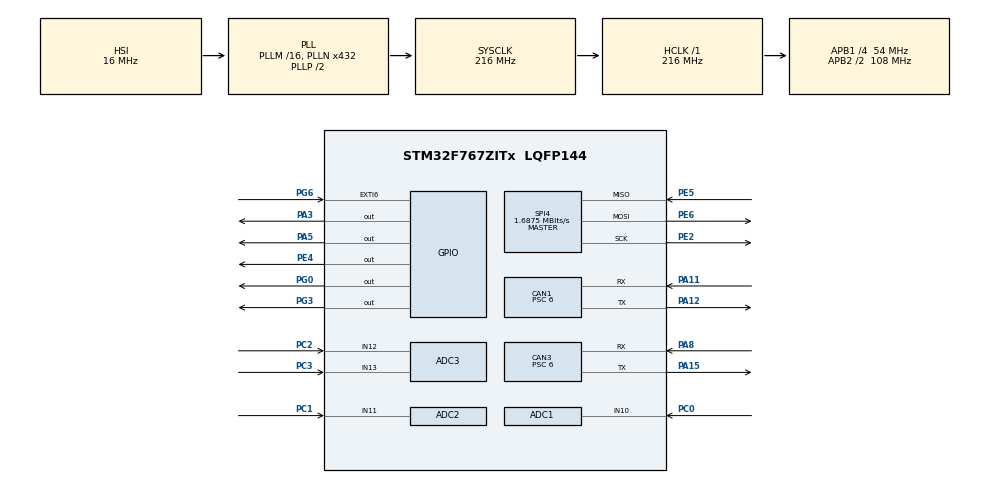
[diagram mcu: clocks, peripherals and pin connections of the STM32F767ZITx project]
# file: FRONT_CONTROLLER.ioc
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ADC1.Channel-0\#ChannelRegularConversion=ADC_CHANNEL_10
ADC1.ClockPrescaler=ADC_CLOCK_SYNC_PCLK_DIV4
ADC1.NbrOfConversionFlag=1
ADC1.Rank-0\#ChannelRegularConversion=1
ADC1.SamplingTime-0\#ChannelRegularConversion=ADC_SAMPLETIME_3CYCLES
ADC1.master=1
ADC2.Channel-0\#ChannelRegularConversion=ADC_CHANNEL_11
ADC2.ClockPrescaler=ADC_CLOCK_SYNC_PCLK_DIV4
ADC2.NbrOfConversionFlag=1
ADC2.Rank-0\#ChannelRegularConversion=1
ADC2.SamplingTime-0\#ChannelRegularConversion=ADC_SAMPLETIME_3CYCLES
ADC3.Channel-0\#ChannelRegularConversion=ADC_CHANNEL_12
ADC3.ClockPrescaler=ADC_CLOCK_SYNC_PCLK_DIV4
ADC3.NbrOfConversionFlag=1
ADC3.Rank-0\#ChannelRegularConversion=1
ADC3.SamplingTime-0\#ChannelRegularConversion=ADC_SAMPLETIME_3CYCLES
CAN1.BS1=CAN_BS1_9TQ
CAN1.BS2=CAN_BS2_8TQ
CAN1.CalculateBaudRate=500000
CAN1.CalculateTimeBit=2000
CAN1.CalculateTimeQuantum=111.11111111111111
CAN1.Prescaler=6
CAN3.BS1=CAN_BS1_9TQ
CAN3.BS2=CAN_BS2_8TQ
CAN3.CalculateBaudRate=500000
CAN3.CalculateTimeBit=2000
CAN3.CalculateTimeQuantum=111.11111111111111
CAN3.Prescaler=6
Mcu.Family=STM32F7
Mcu.Name=STM32F767ZITx
Mcu.Package=LQFP144
NVIC.CAN1_RX1_IRQn=true\:0\:0\:false\:false\:true\:true\:true
NVIC.CAN3_RX0_IRQn=true\:0\:0\:false\:false\:true\:true\:true
NVIC.EXTI9_5_IRQn=true\:0\:0\:false\:false\:true\:true\:true
NVIC.PriorityGroup=NVIC_PRIORITYGROUP_4
NVIC.TIM1_UP_TIM10_IRQn=true\:0\:0\:false\:false\:true\:true\:true
NVIC.TIM8_TRG_COM_TIM14_IRQn=true\:0\:0\:false\:false\:true\:true\:true
NVIC.TIM8_UP_TIM13_IRQn=true\:0\:0\:false\:false\:true\:true\:true
PA11.Mode=CAN_Activate
PA11.Signal=CAN1_RX
PA12.Mode=CAN_Activate
PA12.Signal=CAN1_TX
PA15.Mode=CAN_Activate
PA15.Signal=CAN3_TX
PA3.GPIO_ModeDefaultOutputPP=GPIO_MODE_OUTPUT_PP
PA3.PinState=GPIO_PIN_RESET
PA3.Signal=GPIO_Output
PA5.GPIO_Speed=GPIO_SPEED_FREQ_VERY_HIGH
PA5.PinState=GPIO_PIN_RESET
PA5.Signal=GPIO_Output
PA8.Mode=CAN_Activate
PA8.Signal=CAN3_RX
PC0.Signal=ADCx_IN10
PC1.Signal=ADCx_IN11
PC2.Signal=ADCx_IN12
PC3.Signal=ADCx_IN13
PD5.Signal=USART2_TX
PD6.Signal=USART2_RX
PE2.Mode=Full_Duplex_Master
PE2.Signal=SPI4_SCK
PE4.PinState=GPIO_PIN_SET
PE4.Signal=GPIO_Output
PE5.Mode=Full_Duplex_Master
PE5.Signal=SPI4_MISO
PE6.Mode=Full_Duplex_Master
PE6.Signal=SPI4_MOSI
PG0.PinState=GPIO_PIN_RESET
PG0.Signal=GPIO_Output
PG3.PinState=GPIO_PIN_RESET
PG3.Signal=GPIO_Output
PG6.GPIO_ModeDefaultEXTI=GPIO_MODE_IT_FALLING
PG6.Signal=GPXTI6
ProjectManager.HeapSize=0x200
ProjectManager.StackSize=0x400
ProjectManager.TargetToolchain=STM32CubeIDE
RCC.AHBFreq_Value=216000000
RCC.APB1CLKDivider=RCC_HCLK_DIV4
RCC.APB1Freq_Value=54000000
RCC.APB1TimFreq_Value=108000000
RCC.APB2CLKDivider=RCC_HCLK_DIV2
RCC.APB2Freq_Value=108000000
RCC.APB2TimFreq_Value=216000000
RCC.CortexFreq_Value=216000000
RCC.HCLKFreq_Value=216000000
RCC.HSE_VALUE=25000000
RCC.HSI_VALUE=16000000
RCC.LSE_VALUE=32768
RCC.PLLN=432
RCC.SYSCLKFreq_VALUE=216000000
RCC.SYSCLKSource=RCC_SYSCLKSOURCE_PLLCLK
RCC.USBFreq_Value=216000000
RCC.VCOOutputFreq_Value=432000000
SH.ADCx_IN10.0=ADC1_IN10,IN10
SH.ADCx_IN11.0=ADC2_IN11,IN11
SH.ADCx_IN12.0=ADC3_IN12,IN12
SH.ADCx_IN13.0=ADC3_IN13,IN13
SPI4.BaudRatePrescaler=SPI_BAUDRATEPRESCALER_64
SPI4.CLKPhase=SPI_PHASE_2EDGE
SPI4.CLKPolarity=SPI_POLARITY_HIGH
SPI4.CalculateBaudRate=1.6875 MBits/s
SPI4.DataSize=SPI_DATASIZE_8BIT
SPI4.Direction=SPI_DIRECTION_2LINES
SPI4.FirstBit=SPI_FIRSTBIT_MSB
SPI4.Mode=SPI_MODE_MASTER
SPI4.VirtualType=VM_MASTER
TIM10.Period=50000-1
TIM10.Prescaler=216-1
TIM13.Period=50000-1
TIM13.Prescaler=2160-1
TIM14.Period=50000-1
TIM14.Prescaler=216-1
VP_TIM10_VS_ClockSourceINT.Mode=Enable_Timer
VP_TIM13_VS_ClockSourceINT.Mode=Enable_Timer
VP_TIM14_VS_ClockSourceINT.Mode=Enable_Timer
board=custom

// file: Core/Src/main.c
/* USER CODE BEGIN Header */
/**
  ******************************************************************************
  * @file           : main.c
  * @brief          : Main program body
  ******************************************************************************
  * @attention
  *
  * Copyright (c) 2022 STMicroelectronics.
  * All rights reserved.
  *
  * This software is licensed under terms that can be found in the LICENSE file
  * in the root directory of this software component.
  * If no LICENSE file comes with this software, it is provided AS-IS.
  *
  ******************************************************************************
  */
/* USER CODE END Header */
#include "main.h"

/* USER CODE BEGIN Includes */
#include "can_msg.h"
/* USER CODE END Includes */

/* USER CODE BEGIN PTD */
struct StartupStateMachine {
	enum startup_seq {STANDBY,
					  START_MOTORS,	//Motor startup seq
					  WAIT_BMS,
					  WAIT_START_BTN_PRESS,
					  CONTACTOR_SEQ, //Contactor seq
					  PEDAL,
					  STARTUP_ERROR} startup_state;

	enum contactors_seq {RESET_CONT, CLMPO3, CLMPO4, CLMPO2, OPMPO4, CONTACTOR_COMPLETE} mpo_state;

	enum amk_start_seq {BEGIN_MOTOR_INIT,
						RX_SYS_READY,
						TX_DC_ON,
						RX_QUIT_DC_ON,
						TX_ZERO_TORQUE,
						TX_B_ENABLE,
						TX_B_INVERTER_ON,
						RX_BQ_INTVERTER_ON,
						SET_INITIAL_TORQUE,
						MOTOR_INITIALIZED} amk_start_state;

} startup;

/* USER CODE END PTD */

ADC_HandleTypeDef hadc1;
ADC_HandleTypeDef hadc2;
ADC_HandleTypeDef hadc3;

CAN_HandleTypeDef hcan1;
CAN_HandleTypeDef hcan3;

SPI_HandleTypeDef hspi4;

TIM_HandleTypeDef htim10;
TIM_HandleTypeDef htim13;
TIM_HandleTypeDef htim14;

/* USER CODE BEGIN PV */
bool state = true;
uint8_t start_pressed = 0;

//-------- CAN BMS --------
uint8_t bms_rx_data[8];
uint8_t mpo2_data[8] = {0};
uint8_t mpo3_data[8] = {0};
uint8_t mpo4_data[8] = {0};

CAN_TxHeaderTypeDef mpo2_tx_header, mpo3_tx_header, mpo4_tx_header;
CAN_RxHeaderTypeDef bms_rx_header;

uint8_t contactor_delay_cnt = 0;
//Boolean checks to see if BMS message received
uint8_t active_rx1 = 0;
uint8_t active_rx2 = 0;

//-------- CAN AMK --------
uint32_t amk_tx_mailbox;
struct can_amk_inverter_amk0_actual_values1_t *amk0_av1;
struct can_amk_inverter_amk0_actual_values2_t *amk0_av2;
struct can_amk_inverter_amk0_set_points1_t *amk0_sp;

struct can_amk_inverter_amk1_actual_values1_t *amk1_av1;
struct can_amk_inverter_amk1_actual_values2_t *amk1_av2;
struct can_amk_inverter_amk1_set_points1_t *amk1_sp;

CAN_RxHeaderTypeDef   powertrain_rx_header;
uint8_t               powertrain_rx_data[8];
uint8_t               amk0_av1_tx_data[8], amk0_av2_tx_data[8], amk0_sp_tx_data[8];

CAN_TxHeaderTypeDef   amk0_av1_tx_header, amk0_av2_tx_header, amk0_sp_tx_header;

//-------- SPI ACCELEROMETER --------
uint8_t data_rec[6];
int16_t x, y, z;
float xg, yg, zg;

CAN_TxHeaderTypeDef   TxHeader, TxHeader2, TxHeader3, TxHeader4;
CAN_RxHeaderTypeDef   RxHeader;
uint8_t               TxData[8] = {0};
uint8_t TxData2[8] = {0};
uint8_t TxData3[8] = {0};
uint8_t TxData4[8] = {0};

uint8_t               RxData[8];
uint32_t              TxMailbox;
int num_receives = 0;
/* USER CODE END PV */

void SystemClock_Config(void);
static void MX_GPIO_Init(void);
static void MX_ADC1_Init(void);
static void MX_ADC2_Init(void);
static void MX_ADC3_Init(void);
static void MX_CAN3_Init(void);
static void MX_CAN1_Init(void);
static void MX_TIM14_Init(void);
static void MX_TIM13_Init(void);
static void MX_SPI4_Init(void);
static void MX_TIM10_Init(void);
/* USER CODE BEGIN PFP */
static void configure_hardware(void);
static void can_config(void);
static void change_contactor_phase(struct StartupStateMachine *startup);
static void adxl_init (void);
static void adxl_read(uint8_t address);
static void adxl_write(uint8_t address, uint8_t value);

static void perform_motor_step(void);
static void process_amk0_av1(void);
/* USER CODE END PFP */

int main(void)
{

  /* MCU Configuration--------------------------------------------------------*/

  /* Reset of all peripherals, Initializes the Flash interface and the Systick. */
  HAL_Init();

  /* Configure the system clock */
  SystemClock_Config();

  /* Initialize all configured peripherals */
  MX_GPIO_Init();
  MX_ADC1_Init();
  MX_ADC2_Init();
  MX_ADC3_Init();
  MX_CAN3_Init();
  MX_CAN1_Init();
  MX_TIM14_Init();
  MX_TIM13_Init();
  MX_SPI4_Init();
  MX_TIM10_Init();
  /* USER CODE BEGIN 2 */

  //INITIALIZE CAN, ADC's, GPIO, BRAKE LIGHT, GPS, IMU
  configure_hardware();

  //Initial state machine configuration
  startup.startup_state = WAIT_BMS;
  startup.amk_start_state = BEGIN_MOTOR_INIT;
  startup.mpo_state = RESET_CONT;

  //HAL_Delay(2000);

  adxl_init();

        //startup_state = CONTACTOR_SEQ;
        //mpo_state = SUSPENDED;
        //mpo_state = RESET_CONT;

        //HAL_GPIO_WritePin(GPIOA, GPIO_PIN_3, GPIO_PIN_SET);
  int pin_state, last_pin_state;
  last_pin_state = 1;
  /* USER CODE END 2 */

  /* Infinite loop */
  /* USER CODE BEGIN WHILE */
  while (1)
  {
	  adxl_read(0x32);
	  x = ((data_rec[1]<<8)|data_rec[0]);
	  y = ((data_rec[3]<<8)|data_rec[2]);
	  z = ((data_rec[5]<<8)|data_rec[4]);
	  //convert into g
	  xg = x * .0078;
	  yg = y * .0078;
	  zg = z * .0078;

//	  TxData[0] = (uint8_t)xg;
//	  TxData[1] = (uint8_t)yg;
//	  TxData[2] = (uint8_t)zg;
//
//
//	  HAL_CAN_AddTxMessage(&hcan3, &TxHeader, TxData, &TxMailbox);
//	  HAL_Delay(500);

	  //pin_state = HAL_GPIO_ReadPin(GPIOG, GPIO_PIN_6);
	  if (startup.startup_state == WAIT_START_BTN_PRESS && start_pressed)
	  {
		  //HAL_GPIO_WritePin(GPIOA, GPIO_PIN_3, GPIO_PIN_SET);
		  startup.startup_state = CONTACTOR_SEQ;
		  startup.mpo_state = CLMPO3;
	  }
	  //last_pin_state = pin_state;

	  if (startup.startup_state == START_MOTORS)
		  perform_motor_step();

  }

    /* USER CODE END WHILE */

}

void SystemClock_Config(void)
{
  RCC_OscInitTypeDef RCC_OscInitStruct = {0};
  RCC_ClkInitTypeDef RCC_ClkInitStruct = {0};

  /** Configure the main internal regulator output voltage
  */
  __HAL_RCC_PWR_CLK_ENABLE();
  __HAL_PWR_VOLTAGESCALING_CONFIG(PWR_REGULATOR_VOLTAGE_SCALE1);
  /** Initializes the RCC Oscillators according to the specified parameters
  * in the RCC_OscInitTypeDef structure.
  */
  RCC_OscInitStruct.OscillatorType = RCC_OSCILLATORTYPE_HSI;
  RCC_OscInitStruct.HSIState = RCC_HSI_ON;
  RCC_OscInitStruct.HSICalibrationValue = RCC_HSICALIBRATION_DEFAULT;
  RCC_OscInitStruct.PLL.PLLState = RCC_PLL_ON;
  RCC_OscInitStruct.PLL.PLLSource = RCC_PLLSOURCE_HSI;
  RCC_OscInitStruct.PLL.PLLM = 16;
  RCC_OscInitStruct.PLL.PLLN = 432;
  RCC_OscInitStruct.PLL.PLLP = RCC_PLLP_DIV2;
  RCC_OscInitStruct.PLL.PLLQ = 2;
  RCC_OscInitStruct.PLL.PLLR = 2;
  if (HAL_RCC_OscConfig(&RCC_OscInitStruct) != HAL_OK)
  {
    Error_Handler();
  }
  /** Activate the Over-Drive mode
  */
  if (HAL_PWREx_EnableOverDrive() != HAL_OK)
  {
    Error_Handler();
  }
  /** Initializes the CPU, AHB and APB buses clocks
  */
  RCC_ClkInitStruct.ClockType = RCC_CLOCKTYPE_HCLK|RCC_CLOCKTYPE_SYSCLK
                              |RCC_CLOCKTYPE_PCLK1|RCC_CLOCKTYPE_PCLK2;
  RCC_ClkInitStruct.SYSCLKSource = RCC_SYSCLKSOURCE_PLLCLK;
  RCC_ClkInitStruct.AHBCLKDivider = RCC_SYSCLK_DIV1;
  RCC_ClkInitStruct.APB1CLKDivider = RCC_HCLK_DIV4;
  RCC_ClkInitStruct.APB2CLKDivider = RCC_HCLK_DIV2;

  if (HAL_RCC_ClockConfig(&RCC_ClkInitStruct, FLASH_LATENCY_7) != HAL_OK)
  {
    Error_Handler();
  }
}

static void MX_ADC1_Init(void)
{

  ADC_ChannelConfTypeDef sConfig = {0};

  /** Configure the global features of the ADC (Clock, Resolution, Data Alignment and number of conversion)
  */
  hadc1.Instance = ADC1;
  hadc1.Init.ClockPrescaler = ADC_CLOCK_SYNC_PCLK_DIV4;
  hadc1.Init.Resolution = ADC_RESOLUTION_12B;
  hadc1.Init.ScanConvMode = ADC_SCAN_DISABLE;
  hadc1.Init.ContinuousConvMode = DISABLE;
  hadc1.Init.DiscontinuousConvMode = DISABLE;
  hadc1.Init.ExternalTrigConvEdge = ADC_EXTERNALTRIGCONVEDGE_NONE;
  hadc1.Init.ExternalTrigConv = ADC_SOFTWARE_START;
  hadc1.Init.DataAlign = ADC_DATAALIGN_RIGHT;
  hadc1.Init.NbrOfConversion = 1;
  hadc1.Init.DMAContinuousRequests = DISABLE;
  hadc1.Init.EOCSelection = ADC_EOC_SINGLE_CONV;
  if (HAL_ADC_Init(&hadc1) != HAL_OK)
  {
    Error_Handler();
  }
  /** Configure for the selected ADC regular channel its corresponding rank in the sequencer and its sample time.
  */
  sConfig.Channel = ADC_CHANNEL_10;
  sConfig.Rank = ADC_REGULAR_RANK_1;
  sConfig.SamplingTime = ADC_SAMPLETIME_3CYCLES;
  if (HAL_ADC_ConfigChannel(&hadc1, &sConfig) != HAL_OK)
  {
    Error_Handler();
  }

}

static void MX_ADC2_Init(void)
{

  ADC_ChannelConfTypeDef sConfig = {0};

  /** Configure the global features of the ADC (Clock, Resolution, Data Alignment and number of conversion)
  */
  hadc2.Instance = ADC2;
  hadc2.Init.ClockPrescaler = ADC_CLOCK_SYNC_PCLK_DIV4;
  hadc2.Init.Resolution = ADC_RESOLUTION_12B;
  hadc2.Init.ScanConvMode = ADC_SCAN_DISABLE;
  hadc2.Init.ContinuousConvMode = DISABLE;
  hadc2.Init.DiscontinuousConvMode = DISABLE;
  hadc2.Init.ExternalTrigConvEdge = ADC_EXTERNALTRIGCONVEDGE_NONE;
  hadc2.Init.ExternalTrigConv = ADC_SOFTWARE_START;
  hadc2.Init.DataAlign = ADC_DATAALIGN_RIGHT;
  hadc2.Init.NbrOfConversion = 1;
  hadc2.Init.DMAContinuousRequests = DISABLE;
  hadc2.Init.EOCSelection = ADC_EOC_SINGLE_CONV;
  if (HAL_ADC_Init(&hadc2) != HAL_OK)
  {
    Error_Handler();
  }
  /** Configure for the selected ADC regular channel its corresponding rank in the sequencer and its sample time.
  */
  sConfig.Channel = ADC_CHANNEL_11;
  sConfig.Rank = ADC_REGULAR_RANK_1;
  sConfig.SamplingTime = ADC_SAMPLETIME_3CYCLES;
  if (HAL_ADC_ConfigChannel(&hadc2, &sConfig) != HAL_OK)
  {
    Error_Handler();
  }

}

static void MX_ADC3_Init(void)
{

  ADC_ChannelConfTypeDef sConfig = {0};

  /** Configure the global features of the ADC (Clock, Resolution, Data Alignment and number of conversion)
  */
  hadc3.Instance = ADC3;
  hadc3.Init.ClockPrescaler = ADC_CLOCK_SYNC_PCLK_DIV4;
  hadc3.Init.Resolution = ADC_RESOLUTION_12B;
  hadc3.Init.ScanConvMode = ADC_SCAN_DISABLE;
  hadc3.Init.ContinuousConvMode = DISABLE;
  hadc3.Init.DiscontinuousConvMode = DISABLE;
  hadc3.Init.ExternalTrigConvEdge = ADC_EXTERNALTRIGCONVEDGE_NONE;
  hadc3.Init.ExternalTrigConv = ADC_SOFTWARE_START;
  hadc3.Init.DataAlign = ADC_DATAALIGN_RIGHT;
  hadc3.Init.NbrOfConversion = 1;
  hadc3.Init.DMAContinuousRequests = DISABLE;
  hadc3.Init.EOCSelection = ADC_EOC_SINGLE_CONV;
  if (HAL_ADC_Init(&hadc3) != HAL_OK)
  {
    Error_Handler();
  }
  /** Configure for the selected ADC regular channel its corresponding rank in the sequencer and its sample time.
  */
  sConfig.Channel = ADC_CHANNEL_12;
  sConfig.Rank = ADC_REGULAR_RANK_1;
  sConfig.SamplingTime = ADC_SAMPLETIME_3CYCLES;
  if (HAL_ADC_ConfigChannel(&hadc3, &sConfig) != HAL_OK)
  {
    Error_Handler();
  }

}

static void MX_CAN1_Init(void)
{

  hcan1.Instance = CAN1;
  hcan1.Init.Prescaler = 6;
  hcan1.Init.Mode = CAN_MODE_NORMAL;
  hcan1.Init.SyncJumpWidth = CAN_SJW_1TQ;
  hcan1.Init.TimeSeg1 = CAN_BS1_9TQ;
  hcan1.Init.TimeSeg2 = CAN_BS2_8TQ;
  hcan1.Init.TimeTriggeredMode = DISABLE;
  hcan1.Init.AutoBusOff = DISABLE;
  hcan1.Init.AutoWakeUp = DISABLE;
  hcan1.Init.AutoRetransmission = DISABLE;
  hcan1.Init.ReceiveFifoLocked = DISABLE;
  hcan1.Init.TransmitFifoPriority = DISABLE;
  if (HAL_CAN_Init(&hcan1) != HAL_OK)
  {
    Error_Handler();
  }

}

static void MX_CAN3_Init(void)
{

  hcan3.Instance = CAN3;
  hcan3.Init.Prescaler = 6;
  hcan3.Init.Mode = CAN_MODE_NORMAL;
  hcan3.Init.SyncJumpWidth = CAN_SJW_1TQ;
  hcan3.Init.TimeSeg1 = CAN_BS1_9TQ;
  hcan3.Init.TimeSeg2 = CAN_BS2_8TQ;
  hcan3.Init.TimeTriggeredMode = DISABLE;
  hcan3.Init.AutoBusOff = DISABLE;
  hcan3.Init.AutoWakeUp = DISABLE;
  hcan3.Init.AutoRetransmission = DISABLE;
  hcan3.Init.ReceiveFifoLocked = DISABLE;
  hcan3.Init.TransmitFifoPriority = DISABLE;
  if (HAL_CAN_Init(&hcan3) != HAL_OK)
  {
    Error_Handler();
  }

}

static void MX_SPI4_Init(void)
{

  /* SPI4 parameter configuration*/
  hspi4.Instance = SPI4;
  hspi4.Init.Mode = SPI_MODE_MASTER;
  hspi4.Init.Direction = SPI_DIRECTION_2LINES;
  hspi4.Init.DataSize = SPI_DATASIZE_8BIT;
  hspi4.Init.CLKPolarity = SPI_POLARITY_HIGH;
  hspi4.Init.CLKPhase = SPI_PHASE_2EDGE;
  hspi4.Init.NSS = SPI_NSS_SOFT;
  hspi4.Init.BaudRatePrescaler = SPI_BAUDRATEPRESCALER_64;
  hspi4.Init.FirstBit = SPI_FIRSTBIT_MSB;
  hspi4.Init.TIMode = SPI_TIMODE_DISABLE;
  hspi4.Init.CRCCalculation = SPI_CRCCALCULATION_DISABLE;
  hspi4.Init.CRCPolynomial = 7;
  hspi4.Init.CRCLength = SPI_CRC_LENGTH_DATASIZE;
  hspi4.Init.NSSPMode = SPI_NSS_PULSE_DISABLE;
  if (HAL_SPI_Init(&hspi4) != HAL_OK)
  {
    Error_Handler();
  }

}

static void MX_TIM10_Init(void)
{

  htim10.Instance = TIM10;
  htim10.Init.Prescaler = 216-1;
  htim10.Init.CounterMode = TIM_COUNTERMODE_UP;
  htim10.Init.Period = 50000-1;
  htim10.Init.ClockDivision = TIM_CLOCKDIVISION_DIV1;
  htim10.Init.AutoReloadPreload = TIM_AUTORELOAD_PRELOAD_DISABLE;
  if (HAL_TIM_Base_Init(&htim10) != HAL_OK)
  {
    Error_Handler();
  }

}

static void MX_TIM13_Init(void)
{

  htim13.Instance = TIM13;
  htim13.Init.Prescaler = 2160-1;
  htim13.Init.CounterMode = TIM_COUNTERMODE_UP;
  htim13.Init.Period = 50000-1;
  htim13.Init.ClockDivision = TIM_CLOCKDIVISION_DIV1;
  htim13.Init.AutoReloadPreload = TIM_AUTORELOAD_PRELOAD_DISABLE;
  if (HAL_TIM_Base_Init(&htim13) != HAL_OK)
  {
    Error_Handler();
  }

}

static void MX_TIM14_Init(void)
{

  htim14.Instance = TIM14;
  htim14.Init.Prescaler = 216-1;
  htim14.Init.CounterMode = TIM_COUNTERMODE_UP;
  htim14.Init.Period = 50000-1;
  htim14.Init.ClockDivision = TIM_CLOCKDIVISION_DIV1;
  htim14.Init.AutoReloadPreload = TIM_AUTORELOAD_PRELOAD_DISABLE;
  if (HAL_TIM_Base_Init(&htim14) != HAL_OK)
  {
    Error_Handler();
  }

}

static void MX_GPIO_Init(void)
{
  GPIO_InitTypeDef GPIO_InitStruct = {0};

  /* GPIO Ports Clock Enable */
  __HAL_RCC_GPIOE_CLK_ENABLE();
  __HAL_RCC_GPIOC_CLK_ENABLE();
  __HAL_RCC_GPIOA_CLK_ENABLE();
  __HAL_RCC_GPIOG_CLK_ENABLE();
  __HAL_RCC_GPIOD_CLK_ENABLE();

  /*Configure GPIO pin Output Level */
  HAL_GPIO_WritePin(GPIOE, GPIO_PIN_4, GPIO_PIN_SET);

  /*Configure GPIO pin Output Level */
  HAL_GPIO_WritePin(GPIOA, GPIO_PIN_3|GPIO_PIN_5, GPIO_PIN_RESET);

  /*Configure GPIO pin Output Level */
  HAL_GPIO_WritePin(GPIOG, GPIO_PIN_0|GPIO_PIN_3, GPIO_PIN_RESET);

  /*Configure GPIO pin : PE4 */
  GPIO_InitStruct.Pin = GPIO_PIN_4;
  GPIO_InitStruct.Mode = GPIO_MODE_OUTPUT_PP;
  GPIO_InitStruct.Pull = GPIO_NOPULL;
  GPIO_InitStruct.Speed = GPIO_SPEED_FREQ_LOW;
  HAL_GPIO_Init(GPIOE, &GPIO_InitStruct);

  /*Configure GPIO pin : PA3 */
  GPIO_InitStruct.Pin = GPIO_PIN_3;
  GPIO_InitStruct.Mode = GPIO_MODE_OUTPUT_PP;
  GPIO_InitStruct.Pull = GPIO_NOPULL;
  GPIO_InitStruct.Speed = GPIO_SPEED_FREQ_LOW;
  HAL_GPIO_Init(GPIOA, &GPIO_InitStruct);

  /*Configure GPIO pin : PA5 */
  GPIO_InitStruct.Pin = GPIO_PIN_5;
  GPIO_InitStruct.Mode = GPIO_MODE_OUTPUT_PP;
  GPIO_InitStruct.Pull = GPIO_NOPULL;
  GPIO_InitStruct.Speed = GPIO_SPEED_FREQ_VERY_HIGH;
  HAL_GPIO_Init(GPIOA, &GPIO_InitStruct);

  /*Configure GPIO pins : PG0 PG3 */
  GPIO_InitStruct.Pin = GPIO_PIN_0|GPIO_PIN_3;
  GPIO_InitStruct.Mode = GPIO_MODE_OUTPUT_PP;
  GPIO_InitStruct.Pull = GPIO_NOPULL;
  GPIO_InitStruct.Speed = GPIO_SPEED_FREQ_LOW;
  HAL_GPIO_Init(GPIOG, &GPIO_InitStruct);

  /*Configure GPIO pin : PG6 */
  GPIO_InitStruct.Pin = GPIO_PIN_6;
  GPIO_InitStruct.Mode = GPIO_MODE_IT_FALLING;
  GPIO_InitStruct.Pull = GPIO_NOPULL;
  HAL_GPIO_Init(GPIOG, &GPIO_InitStruct);

  /*Configure GPIO pins : PD5 PD6 */
  GPIO_InitStruct.Pin = GPIO_PIN_5|GPIO_PIN_6;
  GPIO_InitStruct.Mode = GPIO_MODE_AF_PP;
  GPIO_InitStruct.Pull = GPIO_NOPULL;
  GPIO_InitStruct.Speed = GPIO_SPEED_FREQ_VERY_HIGH;
  GPIO_InitStruct.Alternate = GPIO_AF7_USART2;
  HAL_GPIO_Init(GPIOD, &GPIO_InitStruct);

  /* EXTI interrupt init*/
  HAL_NVIC_SetPriority(EXTI9_5_IRQn, 0, 0);
  HAL_NVIC_EnableIRQ(EXTI9_5_IRQn);

}

/* USER CODE BEGIN 4 */
static void configure_hardware(void)
{
	can_config();

	HAL_TIM_Base_Start_IT(&htim13);
	//HAL_TIM_Base_Start_IT(&htim10);
	HAL_TIM_Base_Start_IT(&htim14);
}

static void can_config(void)
{
	//Configure Vehicle CAN
	CAN_FilterTypeDef  sFilterConfig;
	sFilterConfig.FilterBank = 0;
	sFilterConfig.FilterMode = CAN_FILTERMODE_IDMASK;
	sFilterConfig.FilterScale = CAN_FILTERSCALE_32BIT;
	sFilterConfig.FilterIdHigh = 0x0000;
	sFilterConfig.FilterIdLow = 0x0000;
	sFilterConfig.FilterMaskIdHigh = 0x0000;
	sFilterConfig.FilterMaskIdLow = 0x0000;
	sFilterConfig.FilterFIFOAssignment = CAN_RX_FIFO0;
	sFilterConfig.FilterActivation = ENABLE;
	sFilterConfig.SlaveStartFilterBank = 14;

	if (HAL_CAN_ConfigFilter(&hcan3, &sFilterConfig) != HAL_OK)
	  {
	    /* Filter configuration Error */
	    Error_Handler();
	  }

	if (HAL_CAN_Start(&hcan3) != HAL_OK)
	{
	    /* Start Error */
	    Error_Handler();
	}

	//Configure Powertrain CAN
	CAN_FilterTypeDef  sFilterConfig2;
	sFilterConfig2.FilterBank = 0;
	sFilterConfig2.FilterMode = CAN_FILTERMODE_IDMASK;
	sFilterConfig2.FilterScale = CAN_FILTERSCALE_32BIT;
	sFilterConfig2.FilterIdHigh = 0x0000;
	sFilterConfig2.FilterIdLow = 0x0000;
	sFilterConfig2.FilterMaskIdHigh = 0x0000;
	sFilterConfig2.FilterMaskIdLow = 0x0000;
	sFilterConfig2.FilterFIFOAssignment = CAN_RX_FIFO1;
	sFilterConfig2.FilterActivation = ENABLE;
	sFilterConfig2.SlaveStartFilterBank = 14;
	if (HAL_CAN_ConfigFilter(&hcan1, &sFilterConfig2) != HAL_OK)
    {
	   /* Filter configuration Error */
	   Error_Handler();
	}

	if (HAL_CAN_Start(&hcan1) != HAL_OK)
	{
	    /* Start Error */
	    Error_Handler();
	}

	if (HAL_CAN_ActivateNotification(&hcan3, CAN_IT_RX_FIFO0_MSG_PENDING) != HAL_OK)
	{
		/* Notification Error */
	    Error_Handler();
	}

	if (HAL_CAN_ActivateNotification(&hcan1, CAN_IT_RX_FIFO1_MSG_PENDING) != HAL_OK)
	{
		/* Notification Error */
	    Error_Handler();
	}

	//Configure TX Headers for BMS CAN
	mpo2_tx_header.StdId = 0x400;
	mpo2_tx_header.ExtId = 0;
	mpo2_tx_header.RTR = CAN_RTR_DATA;
	mpo2_tx_header.IDE = CAN_ID_STD;
	mpo2_tx_header.DLC = 8;
	mpo2_tx_header.TransmitGlobalTime = DISABLE;

	mpo3_tx_header.StdId = 0x401;
	mpo3_tx_header.ExtId = 0;
	mpo3_tx_header.RTR = CAN_RTR_DATA;
	mpo3_tx_header.IDE = CAN_ID_STD;
	mpo3_tx_header.DLC = 8;
	mpo3_tx_header.TransmitGlobalTime = DISABLE;

	mpo4_tx_header.StdId = 0x402;
	mpo4_tx_header.ExtId = 0;
	mpo4_tx_header.RTR = CAN_RTR_DATA;
	mpo4_tx_header.IDE = CAN_ID_STD;
	mpo4_tx_header.DLC = 8;
	mpo4_tx_header.TransmitGlobalTime = DISABLE;

	//Configure TX Headers for AMK CAN
	amk0_av1_tx_header.StdId = 0x284;
	amk0_av1_tx_header.ExtId = 0;
	amk0_av1_tx_header.RTR = CAN_RTR_DATA;
	amk0_av1_tx_header.IDE = CAN_ID_STD;
	amk0_av1_tx_header.DLC = 8;
	amk0_av1_tx_header.TransmitGlobalTime = DISABLE;

	amk0_av2_tx_header.StdId = 0x286;
	amk0_av2_tx_header.ExtId = 0;
	amk0_av2_tx_header.RTR = CAN_RTR_DATA;
	amk0_av2_tx_header.IDE = CAN_ID_STD;
	amk0_av2_tx_header.DLC = 8;
	amk0_av2_tx_header.TransmitGlobalTime = DISABLE;

	amk0_sp_tx_header.StdId = 389;
	amk0_sp_tx_header.ExtId = 0;
	amk0_sp_tx_header.RTR = CAN_RTR_DATA;
	amk0_sp_tx_header.IDE = CAN_ID_STD;
	amk0_sp_tx_header.DLC = 8;
	amk0_sp_tx_header.TransmitGlobalTime = DISABLE;

	TxHeader.StdId = 0x111;
	TxHeader.ExtId = 0;
	TxHeader.RTR = CAN_RTR_DATA;
	TxHeader.IDE = CAN_ID_STD;
	TxHeader.DLC = 8;
	TxHeader.TransmitGlobalTime = DISABLE;

}

void change_contactor_phase(struct StartupStateMachine *startup)
{
	if (startup->mpo_state == RESET_CONT)
	{
		mpo2_data[0] = 1;
		mpo3_data[0] = 1;
		mpo4_data[0] = 1;
		//HAL_CAN_AddTxMessage(&hcan3, &mpo2_tx_header, mpo2_data, &TxMailbox);
		//HAL_CAN_AddTxMessage(&hcan3, &mpo3_tx_header, mpo3_data, &TxMailbox);
		//HAL_CAN_AddTxMessage(&hcan3, &mpo4_tx_header, mpo4_data, &TxMailbox);
	}
	else if (startup->mpo_state == CLMPO3)
	{
		mpo2_data[0] = 1;
		mpo3_data[0] = 0;
		mpo4_data[0] = 1;
		//HAL_CAN_AddTxMessage(&hcan3, &mpo2_tx_header, mpo2_data, &TxMailbox);
		//HAL_CAN_AddTxMessage(&hcan3, &mpo3_tx_header, mpo3_data, &TxMailbox);
		//HAL_CAN_AddTxMessage(&hcan3, &mpo4_tx_header, mpo4_data, &TxMailbox);
		startup->mpo_state = CLMPO4;
	}
	else if (startup->mpo_state == CLMPO4)
		{
		mpo2_data[0] = 1;
		mpo3_data[0] = 0;
		mpo4_data[0] = 0;
		//HAL_CAN_AddTxMessage(&hcan3, &mpo2_tx_header, mpo2_data, &TxMailbox);
		//HAL_CAN_AddTxMessage(&hcan3, &mpo3_tx_header, mpo3_data, &TxMailbox);
		//HAL_CAN_AddTxMessage(&hcan3, &mpo4_tx_header, mpo4_data, &TxMailbox);
		}
	else if (startup->mpo_state == CLMPO2)
		{
		mpo2_data[0] = 0;
		mpo3_data[0] = 0;
		mpo4_data[0] = 0;
			//HAL_CAN_AddTxMessage(&hcan3, &mpo2_tx_header, mpo2_data, &TxMailbox);
			//HAL_CAN_AddTxMessage(&hcan3, &mpo3_tx_header, mpo3_data, &TxMailbox);
			//HAL_CAN_AddTxMessage(&hcan3, &mpo4_tx_header, mpo4_data, &TxMailbox);
				startup->mpo_state = OPMPO4;
		}
	else if (startup->mpo_state == OPMPO4)
			{
		mpo2_data[0] = 0;
				mpo3_data[0] = 0;
				mpo4_data[0] = 1;
				//HAL_CAN_AddTxMessage(&hcan3, &mpo2_tx_header, mpo2_data, &TxMailbox);
				//HAL_CAN_AddTxMessage(&hcan3, &mpo3_tx_header, mpo3_data, &TxMailbox);
				//HAL_CAN_AddTxMessage(&hcan3, &mpo4_tx_header, mpo4_data, &TxMailbox);
				startup->mpo_state = CONTACTOR_COMPLETE;
			}
	else
	{
		mpo2_data[0] = 1;
				mpo3_data[0] = 1;
				mpo4_data[0] = 1;
				startup->startup_state = PEDAL;
				//HAL_CAN_AddTxMessage(&hcan3, &mpo2_tx_header, mpo2_data, &TxMailbox);
								//HAL_CAN_AddTxMessage(&hcan3, &mpo3_tx_header, mpo3_data, &TxMailbox);
								//HAL_CAN_AddTxMessage(&hcan3, &mpo4_tx_header, mpo4_data, &TxMailbox);
	}

//	switch (startup.mpo_state)
//	{
//	case RESET_CONT:
//		mpo2_data[0] = 1;
//		mpo3_data[0] = 1;
//		mpo4_data[0] = 1;
//		//HAL_CAN_AddTxMessage(&hcan3, &mpo2_tx_header, mpo2_data, &TxMailbox);
//		//HAL_CAN_AddTxMessage(&hcan3, &mpo3_tx_header, mpo3_data, &TxMailbox);
//		//HAL_CAN_AddTxMessage(&hcan3, &mpo4_tx_header, mpo4_data, &TxMailbox);
//		break;
//
//	case CLMPO3:
//		mpo2_data[0] = 1;
//		mpo3_data[0] = 0;
//		mpo4_data[0] = 1;
////		HAL_CAN_AddTxMessage(&hcan3, &mpo2_tx_header, mpo2_data, &TxMailbox);
////		HAL_CAN_AddTxMessage(&hcan3, &mpo3_tx_header, mpo3_data, &TxMailbox);
////		HAL_CAN_AddTxMessage(&hcan3, &mpo4_tx_header, mpo4_data, &TxMailbox);
//		startup.mpo_state = CLMPO4;
//		break;
//	case CLMPO4: //, CLMPO2, OPMPO4, CONTACTOR_COMPLETE
//		mpo2_data[0] = 1;
//		mpo3_data[0] = 0;
//		mpo4_data[0] = 0;
////		HAL_CAN_AddTxMessage(&hcan3, &mpo2_tx_header, mpo2_data, &TxMailbox);
////		HAL_CAN_AddTxMessage(&hcan3, &mpo3_tx_header, mpo3_data, &TxMailbox);
////		HAL_CAN_AddTxMessage(&hcan3, &mpo4_tx_header, mpo4_data, &TxMailbox);
//		//startup.mpo_state = CLMPO2;
//		break;
//
//	case CLMPO2:
//		mpo2_data[0] = 0;
//		mpo3_data[0] = 0;
//		mpo4_data[0] = 0;
////		HAL_CAN_AddTxMessage(&hcan3, &mpo2_tx_header, mpo2_data, &TxMailbox);
////		HAL_CAN_AddTxMessage(&hcan3, &mpo3_tx_header, mpo3_data, &TxMailbox);
////		HAL_CAN_AddTxMessage(&hcan3, &mpo4_tx_header, mpo4_data, &TxMailbox);
//		startup.mpo_state = OPMPO4;
//		break;
//
//	case OPMPO4:
//		mpo2_data[0] = 0;
//		mpo3_data[0] = 0;
//		mpo4_data[0] = 1;
////		HAL_CAN_AddTxMessage(&hcan3, &mpo2_tx_header, mpo2_data, &TxMailbox);
////		HAL_CAN_AddTxMessage(&hcan3, &mpo3_tx_header, mpo3_data, &TxMailbox);
////		HAL_CAN_AddTxMessage(&hcan3, &mpo4_tx_header, mpo4_data, &TxMailbox);
//		startup.mpo_state = CONTACTOR_COMPLETE;
//		//HAL_GPIO_WritePin(GPIOA, GPIO_PIN_5, GPIO_PIN_SET);
//		break;
//
//	default:
//		mpo2_data[0] = 1;
//		mpo3_data[0] = 1;
//		mpo4_data[0] = 1;
//		startup.startup_state = PEDAL;
////		HAL_CAN_AddTxMessage(&hcan3, &mpo2_tx_header, mpo2_data, &TxMailbox);
////		HAL_CAN_AddTxMessage(&hcan3, &mpo3_tx_header, mpo3_data, &TxMailbox);
////		HAL_CAN_AddTxMessage(&hcan3, &mpo4_tx_header, mpo4_data, &TxMailbox);
//		break;
//	}
}

void adxl_write (uint8_t address, uint8_t value)
{
	uint8_t data[2];
	data[0] = address|0x40;  // multibyte write
	data[1] = value;
	HAL_GPIO_WritePin (GPIOE, GPIO_PIN_4, GPIO_PIN_RESET);  // pull the cs pin low
	HAL_SPI_Transmit (&hspi4, data, 2, 100);  // write data to register
	HAL_GPIO_WritePin (GPIOE, GPIO_PIN_4, GPIO_PIN_SET);  // pull the cs pin high
}

void adxl_read (uint8_t address)
{
	address |= 0x80;  // read operation
	address |= 0x40;  // multibyte read
	uint8_t rec;
	HAL_GPIO_WritePin (GPIOE, GPIO_PIN_4, GPIO_PIN_RESET);  // pull the pin low
	HAL_SPI_Transmit (&hspi4, &address, 1, 100);  // send address
	HAL_SPI_Receive (&hspi4, data_rec, 6, 100);  // receive 6 bytes data
	HAL_GPIO_WritePin (GPIOE, GPIO_PIN_4, GPIO_PIN_SET);  // pull the pin high
}

void adxl_init (void)
{
//	adxl_write (0x31, 0x01);  // data_format range= +- 4g
//	adxl_write (0x2d, 0x00);  // reset all bits
//	adxl_write (0x2d, 0x08);  // power_cntl measure and wake up 8hz

	adxl_write (0x2d, 0x00);  // reset all bits

	adxl_write (0x2d, 0x08);  // measure and wake up 8hz

	adxl_write (0x31, 0x01);  // data_format range= +- 4g
}

void process_amk0_av1(void)
{
	can_amk_inverter_amk0_actual_values1_unpack(amk0_av1, powertrain_rx_data, sizeof(powertrain_rx_data));

	if(startup.amk_start_state == BEGIN_MOTOR_INIT && amk0_av1->amk_b_system_ready == 1)
		startup.amk_start_state = TX_DC_ON;
	else if(startup.amk_start_state == RX_QUIT_DC_ON && amk0_av1->amk_b_quit_dc_on == 1)
		startup.amk_start_state = TX_ZERO_TORQUE;
	else if(startup.amk_start_state == RX_BQ_INTVERTER_ON && amk0_av1->amk_b_quit_inverter_on == 1)
		startup.amk_start_state = SET_INITIAL_TORQUE;
}

void perform_motor_step(void)
{
	switch(startup.amk_start_state)
	{
	case TX_DC_ON:
		amk0_av1->amk_b_dc_on = 1;
		can_amk_inverter_amk0_actual_values1_pack(amk0_av1_tx_data, amk0_av1, sizeof(amk0_av1_tx_data));
		HAL_CAN_AddTxMessage(&hcan1, &amk0_av1_tx_header, amk0_av1_tx_data, &amk_tx_mailbox);
		startup.amk_start_state = RX_QUIT_DC_ON;
		break;

	case TX_ZERO_TORQUE:
		amk0_sp->amk_target_velocity = 0;
		amk0_sp->amk_torque_limit_negativ = 0;
		amk0_sp->amk_torque_limit_positiv = 0;
		can_amk_inverter_amk0_set_points1_pack(amk0_sp_tx_data, amk0_sp, sizeof(amk0_sp_tx_data));
		HAL_CAN_AddTxMessage(&hcan1, &amk0_sp_tx_header, amk0_sp_tx_data, &amk_tx_mailbox);
		startup.amk_start_state = TX_B_ENABLE;
		break;

	case TX_B_ENABLE:
		amk0_sp->amk_b_enable = 1;
		can_amk_inverter_amk0_set_points1_pack(amk0_sp_tx_data, amk0_sp, sizeof(amk0_sp_tx_data));
		HAL_CAN_AddTxMessage(&hcan1, &amk0_sp_tx_header, amk0_sp_tx_data, &amk_tx_mailbox);
		startup.amk_start_state = TX_B_INVERTER_ON;
		break;

	case TX_B_INVERTER_ON:
		amk0_sp->amk_b_inverter_on = 1;
		can_amk_inverter_amk0_set_points1_pack(amk0_sp_tx_data, amk0_sp, sizeof(amk0_sp_tx_data));
		HAL_CAN_AddTxMessage(&hcan1, &amk0_sp_tx_header, amk0_sp_tx_data, &amk_tx_mailbox);
		startup.amk_start_state = RX_BQ_INTVERTER_ON;
		break;

	case SET_INITIAL_TORQUE:
		amk0_sp->amk_target_velocity = 0; //CHANGE
		amk0_sp->amk_torque_limit_negativ = 0;
		amk0_sp->amk_torque_limit_positiv = 0;
		can_amk_inverter_amk0_set_points1_pack(amk0_sp_tx_data, amk0_sp, sizeof(amk0_sp_tx_data));
		HAL_CAN_AddTxMessage(&hcan1, &amk0_sp_tx_header, amk0_sp_tx_data, &amk_tx_mailbox);
		startup.amk_start_state = MOTOR_INITIALIZED;
		startup.startup_state = WAIT_BMS;
		break;

	default:
		break;
	}
}

void HAL_TIM_PeriodElapsedCallback(TIM_HandleTypeDef *htim)
{

	if (startup.startup_state == WAIT_START_BTN_PRESS && htim == &htim13)
	{
		HAL_GPIO_TogglePin(GPIOA, GPIO_PIN_5);
	}

	//CONTACTOR PHASE
	if (htim == &htim14)
	{
		if(startup.mpo_state != CONTACTOR_COMPLETE && startup.startup_state == CONTACTOR_SEQ)
			HAL_GPIO_TogglePin(GPIOA, GPIO_PIN_5);
		else if (startup.mpo_state == CONTACTOR_COMPLETE)
			HAL_GPIO_WritePin(GPIOA, GPIO_PIN_5, GPIO_PIN_SET);

//		if(startup.startup_state == PEDAL)
//		{
//			HAL_GPIO_WritePin(GPIOA, GPIO_PIN_3, GPIO_PIN_SET);
//			HAL_GPIO_WritePin(GPIOA, GPIO_PIN_5, GPIO_PIN_SET);
//		}

		if (startup.mpo_state == CLMPO4 && contactor_delay_cnt < 10)
			contactor_delay_cnt++;
		else if (startup.mpo_state == CLMPO4 && contactor_delay_cnt == 10)
		{
			startup.mpo_state = CLMPO2;
			contactor_delay_cnt = 200;
		}

		change_contactor_phase(&startup);
	}

	if (htim == &htim10)
	{
		if(HAL_GPIO_ReadPin(GPIOG, GPIO_PIN_6) == GPIO_PIN_RESET)
		{
			state = true;
			HAL_TIM_Base_Stop_IT(&htim10);
			start_pressed = 1;
		}

	}

}

void HAL_CAN_RxFifo0MsgPendingCallback(CAN_HandleTypeDef *hcan)
{
  /* Get RX message */
  if (HAL_CAN_GetRxMessage(hcan, CAN_RX_FIFO0, &RxHeader, RxData) != HAL_OK)
  {
    /* Reception Error */
    Error_Handler();
  }

  //HAL_GPIO_TogglePin(GPIOA, GPIO_PIN_5);

  uint32_t id = RxHeader.StdId;

  if (id == 0x4B0)
	  active_rx1 = 1;

  if (id == 0x4B1)
	  active_rx2 = 1;

  //CODE CHECK FOR APPROPRIATE BMS MESSAGE HERE
  if (active_rx1 && active_rx2)
  {
	  startup.startup_state = WAIT_START_BTN_PRESS;
	  //HAL_GPIO_WritePin(GPIOA, GPIO_PIN_3, GPIO_PIN_SET);
  }

}

void HAL_CAN_RxFifo1MsgPendingCallback(CAN_HandleTypeDef *hcan)
{
	if (HAL_CAN_GetRxMessage(hcan, CAN_RX_FIFO1, &powertrain_rx_header, powertrain_rx_data) != HAL_OK)
	{
	    /* Reception Error */
	    Error_Handler();
	}

	if(RxHeader.StdId == 644) //AMK0_ActualValues1
	{
		process_amk0_av1();
	}

}

void HAL_GPIO_EXTI_Callback(uint16_t GPIO_Pin)
{
	if(GPIO_Pin == GPIO_PIN_6 && state == true){
		HAL_TIM_Base_Start_IT(&htim10);
		state = false;
	}

//	if(GPIO_Pin == GPIO_PIN_5)
//	{
//		HAL_GPIO_WritePin(GPIOA, GPIO_PIN_5, PinState)
//	}

}

/* USER CODE END 4 */

void Error_Handler(void)
{
  /* USER CODE BEGIN Error_Handler_Debug */
  /* User can add his own implementation to report the HAL error return state */

  HAL_GPIO_WritePin(GPIOA, GPIO_PIN_3, GPIO_PIN_SET);

  __disable_irq();
  while (1)
  {
  }
  /* USER CODE END Error_Handler_Debug */
}
